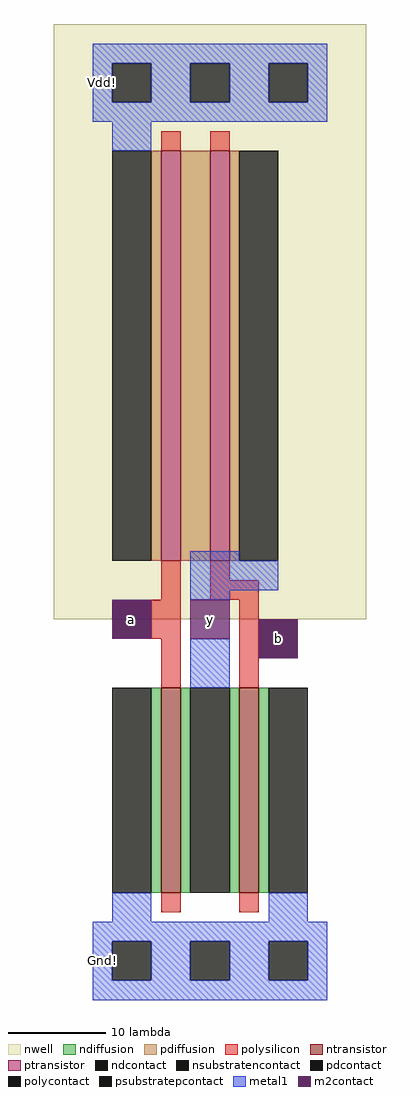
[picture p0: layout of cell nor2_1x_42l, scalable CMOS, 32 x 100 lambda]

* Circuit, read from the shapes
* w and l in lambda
.subckt nor2_1x_42l Gnd! Vdd! a b y
M1 y a Gnd! Gnd! nfet w=21 l=2
M2 Gnd! b y Gnd! nfet w=21 l=2
M3 n1 a Vdd! Vdd! pfet w=42 l=2
M4 y b n1 Vdd! pfet w=42 l=2
.ends

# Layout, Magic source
magic
tech scmos
<< nwell >>
rect -6 35 26 96
<< ntransistor >>
rect 5 7 7 28
rect 13 7 15 28
<< ptransistor >>
rect 5 41 7 83
rect 10 41 12 83
<< ndiffusion >>
rect 4 7 5 28
rect 7 7 8 28
rect 12 7 13 28
rect 15 7 16 28
<< pdiffusion >>
rect 4 41 5 83
rect 7 41 10 83
rect 12 41 13 83
<< ndcontact >>
rect 0 7 4 28
rect 8 7 12 28
rect 16 7 20 28
<< pdcontact >>
rect 0 41 4 83
rect 13 41 17 83
<< psubstratepcontact >>
rect 0 -2 4 2
rect 8 -2 12 2
rect 16 -2 20 2
<< nsubstratencontact >>
rect 0 88 4 92
rect 8 88 12 92
rect 16 88 20 92
<< polysilicon >>
rect 5 83 7 85
rect 10 83 12 85
rect 5 37 7 41
rect 10 39 12 41
rect 10 37 15 39
rect 4 33 7 37
rect 5 28 7 33
rect 13 28 15 37
rect 5 5 7 7
rect 13 5 15 7
<< polycontact >>
rect 0 33 4 37
rect 15 31 19 35
<< metal1 >>
rect -2 92 22 94
rect -2 88 0 92
rect 4 88 8 92
rect 12 88 16 92
rect 20 88 22 92
rect -2 86 22 88
rect 0 83 4 86
rect 8 41 13 42
rect 8 38 17 41
rect 8 37 12 38
rect 8 28 12 33
rect 0 4 4 7
rect 16 4 20 7
rect -2 2 22 4
rect -2 -2 0 2
rect 4 -2 8 2
rect 12 -2 16 2
rect 20 -2 22 2
rect -2 -4 22 -2
<< m2contact >>
rect 0 33 4 37
rect 8 33 12 37
rect 15 31 19 35
<< labels >>
rlabel m2contact 10 35 10 35 1 y
rlabel metal1 -1 90 -1 90 3 Vdd!
rlabel metal1 -1 0 -1 0 3 Gnd!
rlabel m2contact 2 35 2 35 1 a
rlabel m2contact 17 33 17 33 1 b
<< end >>
